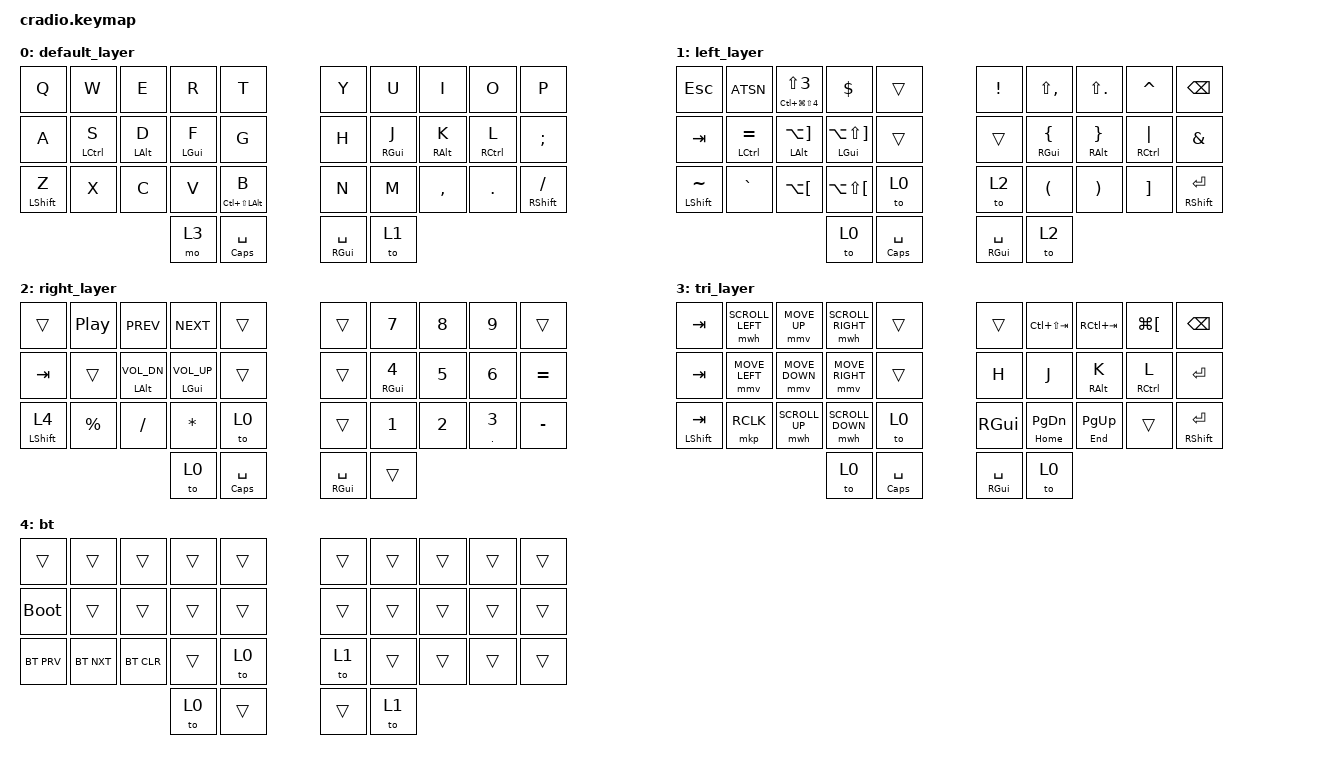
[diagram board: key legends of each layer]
/*
 * Copyright (c) 2020 The ZMK Contributors
 *
 * SPDX-License-Identifier: MIT
 */

#include <behaviors.dtsi>
#include <dt-bindings/zmk/keys.h>
#include <dt-bindings/zmk/bt.h>
#include <dt-bindings/zmk/mouse.h>


&mt {
    flavor = "tap-preferred";
    tapping_term_ms = <200>;
};


/ { 
    combos {
        compatible = "zmk,combos";
        combo_esc { 
            timeout-ms = <50>;
            key-positions = <21 22>;
            bindings = <&kp ESC>;
        };
        combo_3 {
            timeout-ms = <50>;
            key-positions = <7 8>;
            bindings = <&to 3>;
        };
        combo_ent {
            timeout-ms = <50>;
	    key-positions = <27 28>;
            bindings = <&kp RET>;
        };
        combo_1 {
            timeout-ms = <50>;
	    key-positions = <30 33>;
            bindings = <&to 1>;
        };
        combo_1_high {
            timeout-ms = <50>;
	    key-positions = <24 25>;
            bindings = <&to 1>;
        };
        combo_g {
            timeout-ms = <15>;
	    key-positions = <12 13>;
            bindings = <&kp G>;
            layers = <0>;
        };
        combo_j {
            timeout-ms = <50>;
	    key-positions = <22 23>;
            bindings = <&kp J>;
            layers = <0>;
        };
        combo_p {
            timeout-ms = <15>;
	    key-positions = <16 17>;
            bindings = <&kp P>;
            layers = <0>;
        };
        combo_b {
            timeout-ms = <50>;
	    key-positions = <26 27>;
            bindings = <&kp B>;
            layers = <0>;
        };
        combo_scol {
            timeout-ms = <50>;
	    key-positions = <8 9>;
            bindings = <&kp SEMI>;
            layers = <0>;
        };
        combo_com {
            timeout-ms = <50>;
	    key-positions = <20 21>;
            bindings = <&kp COMMA>;
            layers = <0>;
        };
        combo_minus {
            timeout-ms = <50>;
	    key-positions = <0 1>;
            bindings = <&kp MINUS>;
            layers = <0>;
        };
        combo_slsh {
            timeout-ms = <50>;
	    key-positions = <28 29>;
            bindings = <&kp SLASH>;
            layers = <0>;
        };
        combo_sqt {
            timeout-ms = <50>;
	    key-positions = <12 13>;
            bindings = <&kp SQT>;
            layers = <1>;
        };
        combo_dqt {
            timeout-ms = <50>;
	    key-positions = <22 23>;
            bindings = <&kp DQT>;
            layers = <1>;
        };
        combo_bslh {
            timeout-ms = <50>;
	    key-positions = <16 17>;
            bindings = <&kp BSLH>;
            layers = <1>;
        };
        combo_lbkt {
            timeout-ms = <50>;
	    key-positions = <26 27>;
            bindings = <&kp LBKT>;
            layers = <1>;
        };
        combo_n0 {
            timeout-ms = <50>;
	    key-positions = <26 27>;
            bindings = <&kp N0>;
            layers = <2>;
        };
        combo_lalt {
            timeout-ms = <50>;
	    key-positions = <12 13>;
            bindings = <&kp LALT>;
            layers = <3>;
        };
        combo_del {
            timeout-ms = <50>;
	    key-positions = <22 23>;
            bindings = <&kp DEL>;
            layers = <3>;
        };
        combo_left {
            timeout-ms = <50>;
	    key-positions = <16 17>;
            bindings = <&kp LEFT>;
            layers = <3>;
        };
        combo_lclk {
            timeout-ms = <50>;
	    key-positions = <26 27>;
            bindings = <&mkp LCLK>;
            layers = <3>;
        };
    };

    behaviors {
        hm: homerow_mods {
            compatible = "zmk,behavior-hold-tap";
            label = "HOMEROW_MODS";
            #binding-cells = <2>;
            tapping-term-ms = <200>;
            quick_tap_ms = <0>;
            flavor = "tap-preferred";
            bindings = <&kp>, <&kp>;
        };
        hs: homerow_shifts {
            compatible = "zmk,behavior-hold-tap";
            label = "HOMEROW_SHIFTS";
            #binding-cells = <2>;
            tapping-term-ms = <150>;
            quick_tap_ms = <0>;
            flavor = "balanced";
            bindings = <&kp>, <&kp>;
        };
        hsl: homerow_shifts_layer {
            compatible = "zmk,behavior-hold-tap";
            label = "HOMEROW_SHIFTS_LAYER";
            #binding-cells = <2>;
            tapping-term-ms = <150>;
            quick_tap_ms = <0>;
            flavor = "balanced";
            bindings = <&kp>, <&to>;
        };
	td: tapdance {
            compatible = "zmk,behavior-hold-tap";
            label = "TAPDANCE";
            #binding-cells = <2>;
            tapping-term-ms = <150>;
            quick_tap_ms = <0>;
            flavor = "tap-preferred";
            bindings = <&kp>, <&kp>;
        };
	bl: layertap {
            compatible = "zmk,behavior-hold-tap";
            label = "LAYERTAP";
            #binding-cells = <2>;
            tapping-term-ms = <150>;
            quick_tap_ms = <0>;
            flavor = "tap-preferred";
            bindings = <&to>, <&kp>;
        };
    };

        keymap {
                compatible = "zmk,keymap";
                
       		default_layer {
		bindings = <
		&kp Q &kp W &kp E &kp R &kp T 						&kp Y &kp U  &kp I    &kp O  &kp P
		&kp A &hm LCTL S &hm LALT D &hm LGUI F &kp G 			       	&kp H  &hm RGUI J &hm RALT K &hm RCTL L &kp SEMI
		&hs LSHIFT Z &kp X &kp C &kp V &mt LC(LS(LALT)) B &kp N &kp M  &kp COMMA &kp DOT &hs RSHIFT SLASH
          				&mo 3  &hs CAPS SPC &hs RGUI SPC &to 1 
		>;
		};

       		left_layer {
		bindings = <
		&kp ESC  &kp ATSN   &td LC(LG(LS(N4))) LS(N3) &kp DLLR    &trans		&kp EXCL &kp LS(COMMA) &kp LS(DOT) &kp CARET &kp BSPC
		&kp TAB    &hm LCTL EQUAL    &hm LALT LA(RBKT)      &hm LGUI LA(LS(RBKT))     &trans 		&trans &hm RGUI LBRC  &hm RALT RBRC &hm RCTL PIPE  &kp AMPS
  		&hs LSHIFT TILDE    &kp GRAVE 	&kp LA(LBKT) &kp LA(LS(LBKT))  &to 0 	&to 2 &kp LPRN &kp RPRN &kp RBKT  &hs RSHIFT RET
					    &to 0 &hs CAPS SPC					&hs RGUI SPC &to 2 
		>;
		};

		right_layer {
		bindings = <
		&trans &kp C_PP &kp C_PREV  &kp C_NEXT  &trans    			&trans  &kp N7 &kp N8 &kp N9 &trans
		&kp TAB  &trans   &hm LALT C_VOL_DN  &hm LGUI C_VOL_UP  &trans  			&trans &hm RGUI N4  &kp N5  &kp N6   &kp EQUAL
		&hsl LSHIFT 4  &kp PRCNT &kp SLASH &kp STAR &to 0 &trans &kp N1 &kp N2 &td DOT N3  &kp MINUS
					  &to 0 &hs CAPS SPC  				&hs RGUI SPC &trans
		>;
		};

		tri_layer {
		bindings = <
		&kp TAB  &mwh SCROLL_LEFT    &mmv MOVE_UP    &mwh SCROLL_RIGHT    &trans &trans    &kp LC(LS(TAB))   &kp RC(TAB) &kp LG(LBKT) &kp BSPC
		&kp TAB &mmv MOVE_LEFT &mmv MOVE_DOWN &mmv MOVE_RIGHT &trans  						&kp H &kp J  &hm RALT K &hm RCTL L &kp RET
		&hs LSHIFT TAB &mkp RCLK  &mwh SCROLL_UP &mwh SCROLL_DOWN &to 0   				&kp RGUI &td HOME PG_DN  &td END PG_UP  &trans &hs RSHIFT RET  
					 &to 0 &hs CAPS SPC &hs RGUI SPC &to 0 
		>;
		};
		bt {
		bindings = <
		&trans  &trans &trans &trans &trans &trans &trans &trans &trans &trans 
		&bootloader  &trans &trans &trans &trans &trans &trans &trans &trans &trans 
		&bt BT_PRV  &bt BT_NXT &bt BT_CLR &trans &to 0   				&to 1 &trans  &trans  &trans &trans   
					 &to 0 &trans  					&trans &to 1 
		>;
		};
        
	};
};
